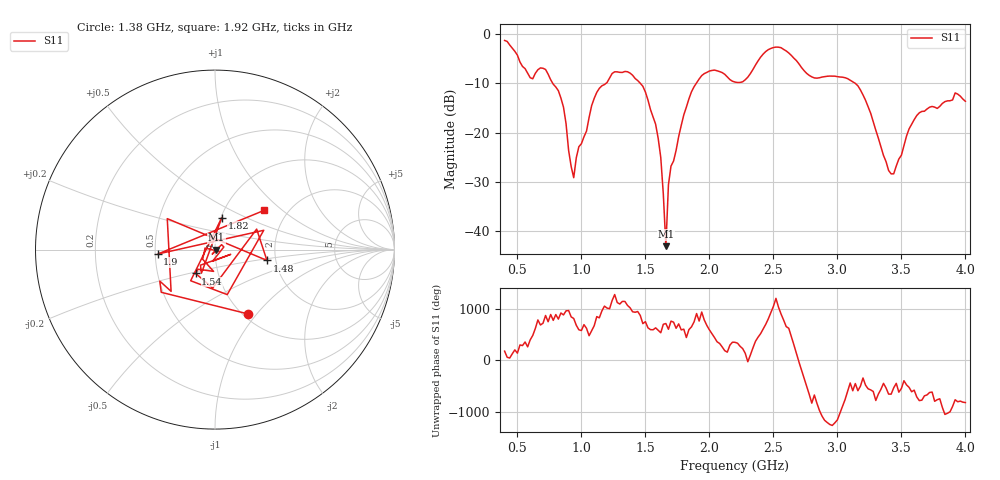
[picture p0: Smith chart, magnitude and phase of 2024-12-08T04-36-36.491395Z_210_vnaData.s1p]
!Created with skrf (http://scikit-rf.org).
# Hz S RI R 50.0
!freq ReS11 ImS11
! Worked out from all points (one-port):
!   181 points, 400 MHz to 4 GHz, reference 50 ohm
!   lowest |S11| = -43.0 dB at 1.66 GHz (marker M1), VSWR 1.01, Z = 50.7 - j0.124 ohm
!   |S11| at or under -10 dB: 776.4 MHz to 1.192 GHz (415.6 MHz wide, 42.2 % of centre); 1.461 GHz to 1.897 GHz (436.6 MHz wide, 26 % of centre); 3.14 GHz to end of sweep
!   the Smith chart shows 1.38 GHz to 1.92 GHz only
!   S11 on the Smith chart (normalised r, x): 1.38 GHz: 1.05, -0.90; 1.48 GHz: 1.79, -0.24; 1.54 GHz: 0.78, -0.21; 1.82 GHz: 1.01, +0.37; 1.9 GHz: 0.52, -0.03; 1.92 GHz: 1.53, +0.76
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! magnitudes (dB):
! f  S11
! 400 MHz  -1.3
! 600 MHz  -8.9
! 720 MHz  -7.2
! 860 MHz  -14.8
! 940 MHz  -29.1
! 980 MHz  -22.9
! 1.12 GHz  -11.8
! 1.3 GHz  -7.8
! 1.38 GHz  -7.9
! 1.48 GHz  -10.6
! 1.54 GHz  -15.3
! 1.62 GHz  -25.0
! 1.66 GHz  -43.0
! 1.68 GHz  -30.6
! 1.76 GHz  -20.8
! 1.82 GHz  -14.8
! 1.9 GHz  -9.9
! 1.92 GHz  -9.1
! 2.2 GHz  -9.7
! 2.48 GHz  -2.9
! 2.66 GHz  -4.9
! 2.82 GHz  -8.9
! 3.1 GHz  -9.4
! 3.22 GHz  -13.4
! 3.42 GHz  -28.4
! 3.56 GHz  -19.2
! 3.92 GHz  -11.9
! 4 GHz  -13.6
